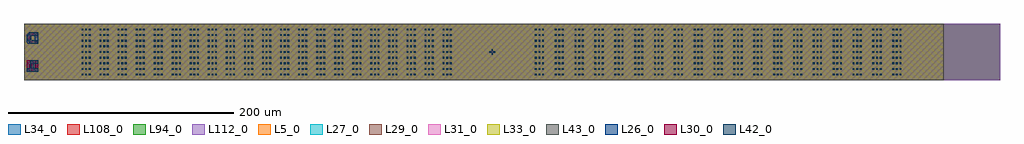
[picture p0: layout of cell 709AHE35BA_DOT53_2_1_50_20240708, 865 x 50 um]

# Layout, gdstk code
from math import pi, radians
import gdstk
lib = gdstk.Library(unit=1e-6, precision=1e-09)
def R(c, l, rs):  # rectangles x0, y0, x1, y1
    for r in rs: c.add(gdstk.rectangle(r[:2], r[2:], *l))
def A(c, l, x, y, w, h, nx, ny, dx, dy):  # array of equal rectangles
    R(c, l, [(x+i*dx, y+j*dy, x+i*dx+w, y+j*dy+h) for i in range(nx) for j in range(ny)])
def P(c, l, *ps):  # polygons
    for p in ps: c.add(gdstk.Polygon(p, *l))
L5_0 = (5, 0)
L26_0 = (26, 0)
L27_0 = (27, 0)
L29_0 = (29, 0)
L30_0 = (30, 0)
L31_0 = (31, 0)
L33_0 = (33, 0)
L34_0 = (34, 0)
L42_0 = (42, 0)
L43_0 = (43, 0)
L94_0 = (94, 0)
L108_0 = (108, 0)
L112_0 = (112, 0)

dot53_800_50_1_6_1_6_t_2 = lib.new_cell('DOT53_800_50_1_6_1_6_T_26_T')
R(dot53_800_50_1_6_1_6_t_2, L5_0, [(15,0,815,50)])
A(dot53_800_50_1_6_1_6_t_2, L26_0, 51, 4.2, 1.6, 1.6, 3, 9, 3.2, 5)
A(dot53_800_50_1_6_1_6_t_2, L26_0, 67, 4.2, 1.6, 1.6, 3, 9, 3.2, 5)
A(dot53_800_50_1_6_1_6_t_2, L26_0, 83, 4.2, 1.6, 1.6, 3, 9, 3.2, 5)
A(dot53_800_50_1_6_1_6_t_2, L26_0, 99, 4.2, 1.6, 1.6, 3, 9, 3.2, 5)
A(dot53_800_50_1_6_1_6_t_2, L26_0, 115, 4.2, 1.6, 1.6, 3, 9, 3.2, 5)
A(dot53_800_50_1_6_1_6_t_2, L26_0, 131, 4.2, 1.6, 1.6, 3, 9, 3.2, 5)
A(dot53_800_50_1_6_1_6_t_2, L26_0, 147, 4.2, 1.6, 1.6, 3, 9, 3.2, 5)
A(dot53_800_50_1_6_1_6_t_2, L26_0, 163, 4.2, 1.6, 1.6, 3, 9, 3.2, 5)
A(dot53_800_50_1_6_1_6_t_2, L26_0, 179, 4.2, 1.6, 1.6, 3, 9, 3.2, 5)
A(dot53_800_50_1_6_1_6_t_2, L26_0, 195, 4.2, 1.6, 1.6, 3, 9, 3.2, 5)
A(dot53_800_50_1_6_1_6_t_2, L26_0, 211, 4.2, 1.6, 1.6, 3, 9, 3.2, 5)
A(dot53_800_50_1_6_1_6_t_2, L26_0, 227, 4.2, 1.6, 1.6, 3, 9, 3.2, 5)
A(dot53_800_50_1_6_1_6_t_2, L26_0, 243, 4.2, 1.6, 1.6, 3, 9, 3.2, 5)
A(dot53_800_50_1_6_1_6_t_2, L26_0, 259, 4.2, 1.6, 1.6, 3, 9, 3.2, 5)
A(dot53_800_50_1_6_1_6_t_2, L26_0, 275, 4.2, 1.6, 1.6, 3, 9, 3.2, 5)
A(dot53_800_50_1_6_1_6_t_2, L26_0, 291, 4.2, 1.6, 1.6, 3, 9, 3.2, 5)
A(dot53_800_50_1_6_1_6_t_2, L26_0, 307, 4.2, 1.6, 1.6, 3, 9, 3.2, 5)
A(dot53_800_50_1_6_1_6_t_2, L26_0, 323, 4.2, 1.6, 1.6, 3, 9, 3.2, 5)
A(dot53_800_50_1_6_1_6_t_2, L26_0, 339, 4.2, 1.6, 1.6, 3, 9, 3.2, 5)
A(dot53_800_50_1_6_1_6_t_2, L26_0, 355, 4.2, 1.6, 1.6, 3, 9, 3.2, 5)
A(dot53_800_50_1_6_1_6_t_2, L26_0, 371, 4.2, 1.6, 1.6, 3, 9, 3.2, 5)
A(dot53_800_50_1_6_1_6_t_2, L26_0, 452.8, 4.2, 1.6, 1.6, 3, 9, 3.2, 5)
A(dot53_800_50_1_6_1_6_t_2, L26_0, 470.4, 4.2, 1.6, 1.6, 3, 9, 3.2, 5)
A(dot53_800_50_1_6_1_6_t_2, L26_0, 488, 4.2, 1.6, 1.6, 3, 9, 3.2, 5)
A(dot53_800_50_1_6_1_6_t_2, L26_0, 505.6, 4.2, 1.6, 1.6, 3, 9, 3.2, 5)
A(dot53_800_50_1_6_1_6_t_2, L26_0, 523.2, 4.2, 1.6, 1.6, 3, 9, 3.2, 5)
A(dot53_800_50_1_6_1_6_t_2, L26_0, 540.8, 4.2, 1.6, 1.6, 3, 9, 3.2, 5)
A(dot53_800_50_1_6_1_6_t_2, L26_0, 558.4, 4.2, 1.6, 1.6, 3, 9, 3.2, 5)
A(dot53_800_50_1_6_1_6_t_2, L26_0, 576, 4.2, 1.6, 1.6, 3, 9, 3.2, 5)
A(dot53_800_50_1_6_1_6_t_2, L26_0, 593.6, 4.2, 1.6, 1.6, 3, 9, 3.2, 5)
A(dot53_800_50_1_6_1_6_t_2, L26_0, 611.2, 4.2, 1.6, 1.6, 3, 9, 3.2, 5)
A(dot53_800_50_1_6_1_6_t_2, L26_0, 628.8, 4.2, 1.6, 1.6, 3, 9, 3.2, 5)
A(dot53_800_50_1_6_1_6_t_2, L26_0, 646.4, 4.2, 1.6, 1.6, 3, 9, 3.2, 5)
A(dot53_800_50_1_6_1_6_t_2, L26_0, 664, 4.2, 1.6, 1.6, 3, 9, 3.2, 5)
A(dot53_800_50_1_6_1_6_t_2, L26_0, 681.6, 4.2, 1.6, 1.6, 3, 9, 3.2, 5)
A(dot53_800_50_1_6_1_6_t_2, L26_0, 699.2, 4.2, 1.6, 1.6, 3, 9, 3.2, 5)
A(dot53_800_50_1_6_1_6_t_2, L26_0, 716.8, 4.2, 1.6, 1.6, 3, 9, 3.2, 5)
A(dot53_800_50_1_6_1_6_t_2, L26_0, 734.4, 4.2, 1.6, 1.6, 3, 9, 3.2, 5)
A(dot53_800_50_1_6_1_6_t_2, L26_0, 752, 4.2, 1.6, 1.6, 3, 9, 3.2, 5)
A(dot53_800_50_1_6_1_6_t_2, L26_0, 769.6, 4.2, 1.6, 1.6, 3, 9, 3.2, 5)
P(dot53_800_50_1_6_1_6_t_2, L26_0, [(415.5,24.5),(417.5,24.5),(417.5,25.5),(415.5,25.5),(415.5,27.5),(414.5,27.5),(414.5,25.5),(412.5,25.5),(412.5,24.5),(414.5,24.5),(414.5,22.5),(415.5,22.5)])
R(dot53_800_50_1_6_1_6_t_2, L27_0, [(15,0,815,50)])
R(dot53_800_50_1_6_1_6_t_2, L29_0, [(15,0,815,50)])
R(dot53_800_50_1_6_1_6_t_2, L31_0, [(15,0,815,50)])
R(dot53_800_50_1_6_1_6_t_2, L33_0, [(15,0,815,50)])
R(dot53_800_50_1_6_1_6_t_2, L34_0, [(15,0,865,50)])
R(dot53_800_50_1_6_1_6_t_2, L43_0, [(15,0,815,50)])
R(dot53_800_50_1_6_1_6_t_2, L94_0, [(15,0,865,50)])
R(dot53_800_50_1_6_1_6_t_2, L108_0, [(15,0,865,50)])
R(dot53_800_50_1_6_1_6_t_2, L112_0, [(15,0,865,50)])

c_dot53_800_50_1_6_1_6_t_2 = lib.new_cell('DOT53_800_50_1_6_1_6_T_26_name')
R(c_dot53_800_50_1_6_1_6_t_2, L5_0, [(0,0,50,15)])
P(c_dot53_800_50_1_6_1_6_t_2, L26_0, [(17.5,3.5),(17.5,4.5),(16.5,5.5),(11.5,5.5),(10.5,6.5),(10.5,8.5),(11.5,9.5),(16.5,9.5),(17.5,10.5),(17.5,11.5),(16.5,12.5),(9.5,12.5),(7.5,10.5),(7.5,4.5),(9.5,2.5),(16.5,2.5)],
  [(42.5,2.5),(42.5,12.5),(32.5,12.5),(32.5,5.5),(35.5,5.5),(35.5,9.5),(39.5,9.5),(39.5,5.5),(35.5,5.5),(32.5,5.5),(32.5,2.5)])
R(c_dot53_800_50_1_6_1_6_t_2, L27_0, [(0,0,50,15)])
R(c_dot53_800_50_1_6_1_6_t_2, L29_0, [(0,0,50,15)])
R(c_dot53_800_50_1_6_1_6_t_2, L31_0, [(0,0,50,15)])
R(c_dot53_800_50_1_6_1_6_t_2, L33_0, [(0,0,50,15)])
R(c_dot53_800_50_1_6_1_6_t_2, L34_0, [(0,0,50,15)])
R(c_dot53_800_50_1_6_1_6_t_2, L43_0, [(0,0,50,15)])
R(c_dot53_800_50_1_6_1_6_t_2, L94_0, [(0,0,50,15)])
R(c_dot53_800_50_1_6_1_6_t_2, L108_0, [(0,0,50,15)])
R(c_dot53_800_50_1_6_1_6_t_2, L112_0, [(0,0,50,15)])

dot53_800_50_1_6_1_6_t_3 = lib.new_cell('DOT53_800_50_1_6_1_6_T_30_T')
R(dot53_800_50_1_6_1_6_t_3, L5_0, [(15,0,815,50)])
R(dot53_800_50_1_6_1_6_t_3, L27_0, [(15,0,815,50)])
R(dot53_800_50_1_6_1_6_t_3, L29_0, [(15,0,815,50)])
A(dot53_800_50_1_6_1_6_t_3, L30_0, 51, 4.2, 1.6, 1.6, 3, 9, 3.2, 5)
A(dot53_800_50_1_6_1_6_t_3, L30_0, 67, 4.2, 1.6, 1.6, 3, 9, 3.2, 5)
A(dot53_800_50_1_6_1_6_t_3, L30_0, 83, 4.2, 1.6, 1.6, 3, 9, 3.2, 5)
A(dot53_800_50_1_6_1_6_t_3, L30_0, 99, 4.2, 1.6, 1.6, 3, 9, 3.2, 5)
A(dot53_800_50_1_6_1_6_t_3, L30_0, 115, 4.2, 1.6, 1.6, 3, 9, 3.2, 5)
A(dot53_800_50_1_6_1_6_t_3, L30_0, 131, 4.2, 1.6, 1.6, 3, 9, 3.2, 5)
A(dot53_800_50_1_6_1_6_t_3, L30_0, 147, 4.2, 1.6, 1.6, 3, 9, 3.2, 5)
A(dot53_800_50_1_6_1_6_t_3, L30_0, 163, 4.2, 1.6, 1.6, 3, 9, 3.2, 5)
A(dot53_800_50_1_6_1_6_t_3, L30_0, 179, 4.2, 1.6, 1.6, 3, 9, 3.2, 5)
A(dot53_800_50_1_6_1_6_t_3, L30_0, 195, 4.2, 1.6, 1.6, 3, 9, 3.2, 5)
A(dot53_800_50_1_6_1_6_t_3, L30_0, 211, 4.2, 1.6, 1.6, 3, 9, 3.2, 5)
A(dot53_800_50_1_6_1_6_t_3, L30_0, 227, 4.2, 1.6, 1.6, 3, 9, 3.2, 5)
A(dot53_800_50_1_6_1_6_t_3, L30_0, 243, 4.2, 1.6, 1.6, 3, 9, 3.2, 5)
A(dot53_800_50_1_6_1_6_t_3, L30_0, 259, 4.2, 1.6, 1.6, 3, 9, 3.2, 5)
A(dot53_800_50_1_6_1_6_t_3, L30_0, 275, 4.2, 1.6, 1.6, 3, 9, 3.2, 5)
A(dot53_800_50_1_6_1_6_t_3, L30_0, 291, 4.2, 1.6, 1.6, 3, 9, 3.2, 5)
A(dot53_800_50_1_6_1_6_t_3, L30_0, 307, 4.2, 1.6, 1.6, 3, 9, 3.2, 5)
A(dot53_800_50_1_6_1_6_t_3, L30_0, 323, 4.2, 1.6, 1.6, 3, 9, 3.2, 5)
A(dot53_800_50_1_6_1_6_t_3, L30_0, 339, 4.2, 1.6, 1.6, 3, 9, 3.2, 5)
A(dot53_800_50_1_6_1_6_t_3, L30_0, 355, 4.2, 1.6, 1.6, 3, 9, 3.2, 5)
A(dot53_800_50_1_6_1_6_t_3, L30_0, 371, 4.2, 1.6, 1.6, 3, 9, 3.2, 5)
A(dot53_800_50_1_6_1_6_t_3, L30_0, 452.8, 4.2, 1.6, 1.6, 3, 9, 3.2, 5)
A(dot53_800_50_1_6_1_6_t_3, L30_0, 470.4, 4.2, 1.6, 1.6, 3, 9, 3.2, 5)
A(dot53_800_50_1_6_1_6_t_3, L30_0, 488, 4.2, 1.6, 1.6, 3, 9, 3.2, 5)
A(dot53_800_50_1_6_1_6_t_3, L30_0, 505.6, 4.2, 1.6, 1.6, 3, 9, 3.2, 5)
A(dot53_800_50_1_6_1_6_t_3, L30_0, 523.2, 4.2, 1.6, 1.6, 3, 9, 3.2, 5)
A(dot53_800_50_1_6_1_6_t_3, L30_0, 540.8, 4.2, 1.6, 1.6, 3, 9, 3.2, 5)
A(dot53_800_50_1_6_1_6_t_3, L30_0, 558.4, 4.2, 1.6, 1.6, 3, 9, 3.2, 5)
A(dot53_800_50_1_6_1_6_t_3, L30_0, 576, 4.2, 1.6, 1.6, 3, 9, 3.2, 5)
A(dot53_800_50_1_6_1_6_t_3, L30_0, 593.6, 4.2, 1.6, 1.6, 3, 9, 3.2, 5)
A(dot53_800_50_1_6_1_6_t_3, L30_0, 611.2, 4.2, 1.6, 1.6, 3, 9, 3.2, 5)
A(dot53_800_50_1_6_1_6_t_3, L30_0, 628.8, 4.2, 1.6, 1.6, 3, 9, 3.2, 5)
A(dot53_800_50_1_6_1_6_t_3, L30_0, 646.4, 4.2, 1.6, 1.6, 3, 9, 3.2, 5)
A(dot53_800_50_1_6_1_6_t_3, L30_0, 664, 4.2, 1.6, 1.6, 3, 9, 3.2, 5)
A(dot53_800_50_1_6_1_6_t_3, L30_0, 681.6, 4.2, 1.6, 1.6, 3, 9, 3.2, 5)
A(dot53_800_50_1_6_1_6_t_3, L30_0, 699.2, 4.2, 1.6, 1.6, 3, 9, 3.2, 5)
A(dot53_800_50_1_6_1_6_t_3, L30_0, 716.8, 4.2, 1.6, 1.6, 3, 9, 3.2, 5)
A(dot53_800_50_1_6_1_6_t_3, L30_0, 734.4, 4.2, 1.6, 1.6, 3, 9, 3.2, 5)
A(dot53_800_50_1_6_1_6_t_3, L30_0, 752, 4.2, 1.6, 1.6, 3, 9, 3.2, 5)
A(dot53_800_50_1_6_1_6_t_3, L30_0, 769.6, 4.2, 1.6, 1.6, 3, 9, 3.2, 5)
P(dot53_800_50_1_6_1_6_t_3, L30_0, [(415.5,24.5),(417.5,24.5),(417.5,25.5),(415.5,25.5),(415.5,27.5),(414.5,27.5),(414.5,25.5),(412.5,25.5),(412.5,24.5),(414.5,24.5),(414.5,22.5),(415.5,22.5)])
R(dot53_800_50_1_6_1_6_t_3, L31_0, [(15,0,815,50)])
R(dot53_800_50_1_6_1_6_t_3, L33_0, [(15,0,815,50)])
R(dot53_800_50_1_6_1_6_t_3, L34_0, [(15,0,865,50)])
R(dot53_800_50_1_6_1_6_t_3, L43_0, [(15,0,815,50)])
R(dot53_800_50_1_6_1_6_t_3, L94_0, [(15,0,865,50)])
R(dot53_800_50_1_6_1_6_t_3, L108_0, [(15,0,865,50)])
R(dot53_800_50_1_6_1_6_t_3, L112_0, [(15,0,865,50)])

c_dot53_800_50_1_6_1_6_t_3 = lib.new_cell('DOT53_800_50_1_6_1_6_T_30_name')
R(c_dot53_800_50_1_6_1_6_t_3, L5_0, [(0,0,50,15)])
R(c_dot53_800_50_1_6_1_6_t_3, L27_0, [(0,0,50,15)])
R(c_dot53_800_50_1_6_1_6_t_3, L29_0, [(0,0,50,15)])
P(c_dot53_800_50_1_6_1_6_t_3, L30_0, [(17.5,5.5),(17.5,12.5),(14.5,12.5),(14.5,6.5),(10.5,6.5),(10.5,12.5),(7.5,12.5),(7.5,5.5),(11.5,2.5),(13.5,2.5)],
  [(42.5,5),(35.5,5),(35.5,6.3),(42.5,6.3),(42.5,12.5),(32.5,12.5),(32.5,10),(39.5,10),(39.5,8.8),(32.5,8.8),(32.5,2.5),(42.5,2.5)])
R(c_dot53_800_50_1_6_1_6_t_3, L31_0, [(0,0,50,15)])
R(c_dot53_800_50_1_6_1_6_t_3, L33_0, [(0,0,50,15)])
R(c_dot53_800_50_1_6_1_6_t_3, L34_0, [(0,0,50,15)])
R(c_dot53_800_50_1_6_1_6_t_3, L43_0, [(0,0,50,15)])
R(c_dot53_800_50_1_6_1_6_t_3, L94_0, [(0,0,50,15)])
R(c_dot53_800_50_1_6_1_6_t_3, L108_0, [(0,0,50,15)])
R(c_dot53_800_50_1_6_1_6_t_3, L112_0, [(0,0,50,15)])

dot53_800_50_1_6_1_6_t_4 = lib.new_cell('DOT53_800_50_1_6_1_6_T_42_T')
R(dot53_800_50_1_6_1_6_t_4, L5_0, [(15,0,815,50)])
R(dot53_800_50_1_6_1_6_t_4, L27_0, [(15,0,815,50)])
R(dot53_800_50_1_6_1_6_t_4, L29_0, [(15,0,815,50)])
R(dot53_800_50_1_6_1_6_t_4, L31_0, [(15,0,815,50)])
R(dot53_800_50_1_6_1_6_t_4, L33_0, [(15,0,815,50)])
R(dot53_800_50_1_6_1_6_t_4, L34_0, [(15,0,865,50)])
A(dot53_800_50_1_6_1_6_t_4, L42_0, 51, 4.2, 1.6, 1.6, 3, 9, 3.2, 5)
A(dot53_800_50_1_6_1_6_t_4, L42_0, 67, 4.2, 1.6, 1.6, 3, 9, 3.2, 5)
A(dot53_800_50_1_6_1_6_t_4, L42_0, 83, 4.2, 1.6, 1.6, 3, 9, 3.2, 5)
A(dot53_800_50_1_6_1_6_t_4, L42_0, 99, 4.2, 1.6, 1.6, 3, 9, 3.2, 5)
A(dot53_800_50_1_6_1_6_t_4, L42_0, 115, 4.2, 1.6, 1.6, 3, 9, 3.2, 5)
A(dot53_800_50_1_6_1_6_t_4, L42_0, 131, 4.2, 1.6, 1.6, 3, 9, 3.2, 5)
A(dot53_800_50_1_6_1_6_t_4, L42_0, 147, 4.2, 1.6, 1.6, 3, 9, 3.2, 5)
A(dot53_800_50_1_6_1_6_t_4, L42_0, 163, 4.2, 1.6, 1.6, 3, 9, 3.2, 5)
A(dot53_800_50_1_6_1_6_t_4, L42_0, 179, 4.2, 1.6, 1.6, 3, 9, 3.2, 5)
A(dot53_800_50_1_6_1_6_t_4, L42_0, 195, 4.2, 1.6, 1.6, 3, 9, 3.2, 5)
A(dot53_800_50_1_6_1_6_t_4, L42_0, 211, 4.2, 1.6, 1.6, 3, 9, 3.2, 5)
A(dot53_800_50_1_6_1_6_t_4, L42_0, 227, 4.2, 1.6, 1.6, 3, 9, 3.2, 5)
A(dot53_800_50_1_6_1_6_t_4, L42_0, 243, 4.2, 1.6, 1.6, 3, 9, 3.2, 5)
A(dot53_800_50_1_6_1_6_t_4, L42_0, 259, 4.2, 1.6, 1.6, 3, 9, 3.2, 5)
A(dot53_800_50_1_6_1_6_t_4, L42_0, 275, 4.2, 1.6, 1.6, 3, 9, 3.2, 5)
A(dot53_800_50_1_6_1_6_t_4, L42_0, 291, 4.2, 1.6, 1.6, 3, 9, 3.2, 5)
A(dot53_800_50_1_6_1_6_t_4, L42_0, 307, 4.2, 1.6, 1.6, 3, 9, 3.2, 5)
A(dot53_800_50_1_6_1_6_t_4, L42_0, 323, 4.2, 1.6, 1.6, 3, 9, 3.2, 5)
A(dot53_800_50_1_6_1_6_t_4, L42_0, 339, 4.2, 1.6, 1.6, 3, 9, 3.2, 5)
A(dot53_800_50_1_6_1_6_t_4, L42_0, 355, 4.2, 1.6, 1.6, 3, 9, 3.2, 5)
A(dot53_800_50_1_6_1_6_t_4, L42_0, 371, 4.2, 1.6, 1.6, 3, 9, 3.2, 5)
A(dot53_800_50_1_6_1_6_t_4, L42_0, 452.8, 4.2, 1.6, 1.6, 3, 9, 3.2, 5)
A(dot53_800_50_1_6_1_6_t_4, L42_0, 470.4, 4.2, 1.6, 1.6, 3, 9, 3.2, 5)
A(dot53_800_50_1_6_1_6_t_4, L42_0, 488, 4.2, 1.6, 1.6, 3, 9, 3.2, 5)
A(dot53_800_50_1_6_1_6_t_4, L42_0, 505.6, 4.2, 1.6, 1.6, 3, 9, 3.2, 5)
A(dot53_800_50_1_6_1_6_t_4, L42_0, 523.2, 4.2, 1.6, 1.6, 3, 9, 3.2, 5)
A(dot53_800_50_1_6_1_6_t_4, L42_0, 540.8, 4.2, 1.6, 1.6, 3, 9, 3.2, 5)
A(dot53_800_50_1_6_1_6_t_4, L42_0, 558.4, 4.2, 1.6, 1.6, 3, 9, 3.2, 5)
A(dot53_800_50_1_6_1_6_t_4, L42_0, 576, 4.2, 1.6, 1.6, 3, 9, 3.2, 5)
A(dot53_800_50_1_6_1_6_t_4, L42_0, 593.6, 4.2, 1.6, 1.6, 3, 9, 3.2, 5)
A(dot53_800_50_1_6_1_6_t_4, L42_0, 611.2, 4.2, 1.6, 1.6, 3, 9, 3.2, 5)
A(dot53_800_50_1_6_1_6_t_4, L42_0, 628.8, 4.2, 1.6, 1.6, 3, 9, 3.2, 5)
A(dot53_800_50_1_6_1_6_t_4, L42_0, 646.4, 4.2, 1.6, 1.6, 3, 9, 3.2, 5)
A(dot53_800_50_1_6_1_6_t_4, L42_0, 664, 4.2, 1.6, 1.6, 3, 9, 3.2, 5)
A(dot53_800_50_1_6_1_6_t_4, L42_0, 681.6, 4.2, 1.6, 1.6, 3, 9, 3.2, 5)
A(dot53_800_50_1_6_1_6_t_4, L42_0, 699.2, 4.2, 1.6, 1.6, 3, 9, 3.2, 5)
A(dot53_800_50_1_6_1_6_t_4, L42_0, 716.8, 4.2, 1.6, 1.6, 3, 9, 3.2, 5)
A(dot53_800_50_1_6_1_6_t_4, L42_0, 734.4, 4.2, 1.6, 1.6, 3, 9, 3.2, 5)
A(dot53_800_50_1_6_1_6_t_4, L42_0, 752, 4.2, 1.6, 1.6, 3, 9, 3.2, 5)
A(dot53_800_50_1_6_1_6_t_4, L42_0, 769.6, 4.2, 1.6, 1.6, 3, 9, 3.2, 5)
P(dot53_800_50_1_6_1_6_t_4, L42_0, [(415.5,24.5),(417.5,24.5),(417.5,25.5),(415.5,25.5),(415.5,27.5),(414.5,27.5),(414.5,25.5),(412.5,25.5),(412.5,24.5),(414.5,24.5),(414.5,22.5),(415.5,22.5)])
R(dot53_800_50_1_6_1_6_t_4, L43_0, [(15,0,815,50)])
R(dot53_800_50_1_6_1_6_t_4, L94_0, [(15,0,865,50)])
R(dot53_800_50_1_6_1_6_t_4, L108_0, [(15,0,865,50)])
R(dot53_800_50_1_6_1_6_t_4, L112_0, [(15,0,865,50)])

c_dot53_800_50_1_6_1_6_t_4 = lib.new_cell('DOT53_800_50_1_6_1_6_T_42_name')
R(c_dot53_800_50_1_6_1_6_t_4, L5_0, [(0,0,50,15)])
R(c_dot53_800_50_1_6_1_6_t_4, L27_0, [(0,0,50,15)])
R(c_dot53_800_50_1_6_1_6_t_4, L29_0, [(0,0,50,15)])
R(c_dot53_800_50_1_6_1_6_t_4, L31_0, [(0,0,50,15)])
R(c_dot53_800_50_1_6_1_6_t_4, L33_0, [(0,0,50,15)])
R(c_dot53_800_50_1_6_1_6_t_4, L34_0, [(0,0,50,15)])
P(c_dot53_800_50_1_6_1_6_t_4, L42_0, [(17.5,5.5),(17.5,12.5),(14.5,12.5),(14.5,6.5),(10.5,6.5),(10.5,12.5),(7.5,12.5),(7.5,5.5),(11.5,2.5),(13.5,2.5)],
  [(42.5,12.5),(39.5,12.5),(39.5,8.5),(35.5,8.5),(35.5,12.5),(32.5,12.5),(32.5,5.5),(39.5,5.5),(39.5,2.5),(42.5,2.5)])
R(c_dot53_800_50_1_6_1_6_t_4, L43_0, [(0,0,50,15)])
R(c_dot53_800_50_1_6_1_6_t_4, L94_0, [(0,0,50,15)])
R(c_dot53_800_50_1_6_1_6_t_4, L108_0, [(0,0,50,15)])
R(c_dot53_800_50_1_6_1_6_t_4, L112_0, [(0,0,50,15)])

c_709ahe35ba_dot53_2_1_50_ = lib.new_cell('709AHE35BA_DOT53_2_1_50_20240708')
c_709ahe35ba_dot53_2_1_50_.add(gdstk.Reference(dot53_800_50_1_6_1_6_t_2, (0,0)))
c_709ahe35ba_dot53_2_1_50_.add(gdstk.Reference(c_dot53_800_50_1_6_1_6_t_2, (0,50), rotation=3*pi/2))
c_709ahe35ba_dot53_2_1_50_.add(gdstk.Reference(dot53_800_50_1_6_1_6_t_3, (0,0)))
c_709ahe35ba_dot53_2_1_50_.add(gdstk.Reference(c_dot53_800_50_1_6_1_6_t_3, (0,50), rotation=3*pi/2))
c_709ahe35ba_dot53_2_1_50_.add(gdstk.Reference(dot53_800_50_1_6_1_6_t_4, (0,0)))
c_709ahe35ba_dot53_2_1_50_.add(gdstk.Reference(c_dot53_800_50_1_6_1_6_t_4, (0,50), rotation=3*pi/2))

lib.write_gds('709AHE35BA_DOT53_2_1_50_20240708.gds')
